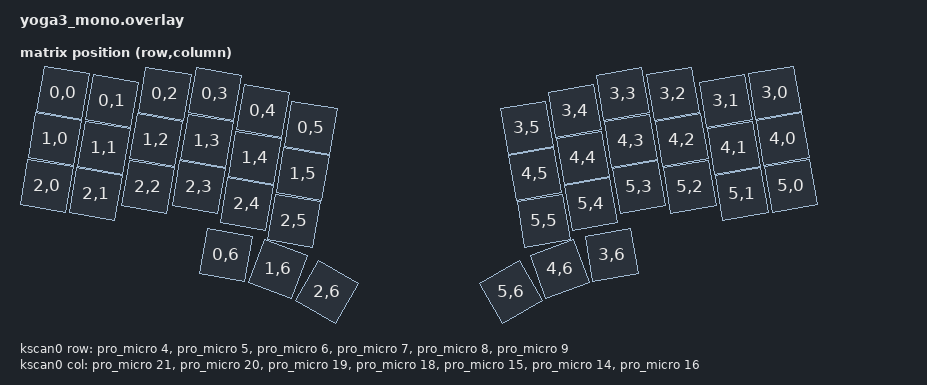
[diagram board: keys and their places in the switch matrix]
/*
 * SPDX-License-Identifier: MIT
 */

#include <dt-bindings/zmk/matrix_transform.h>
#include <physical_layouts.dtsi>

/ {
    chosen {
        zmk,kscan = &kscan0;
        zmk,physical-layout = &yoga3_mono_layout;
    };

    // 42 keys in a 6 x 7 matrix: left rows 0-2, right rows 3-5, thumbs in column 6
    default_transform: default_transform {
        compatible = "zmk,matrix-transform";
        columns = <7>;
        rows = <6>;
        map = <
            RC(0,0) RC(0,1) RC(0,2) RC(0,3) RC(0,4) RC(0,5) RC(3,5) RC(3,4) RC(3,3) RC(3,2) RC(3,1) RC(3,0)
            RC(1,0) RC(1,1) RC(1,2) RC(1,3) RC(1,4) RC(1,5) RC(4,5) RC(4,4) RC(4,3) RC(4,2) RC(4,1) RC(4,0)
            RC(2,0) RC(2,1) RC(2,2) RC(2,3) RC(2,4) RC(2,5) RC(5,5) RC(5,4) RC(5,3) RC(5,2) RC(5,1) RC(5,0)
            RC(0,6) RC(1,6) RC(2,6) RC(5,6) RC(4,6) RC(3,6)
        >;
    };

    yoga3_mono_layout: yoga3_mono_layout {
        compatible = "zmk,physical-layout";
        display-name = "Default";
        transform = <&default_transform>;
        keys  //                     w   h     x     y   rot    rx    ry
            = <&key_physical_attrs 100 100      33       0    1000      83      50>
            , <&key_physical_attrs 100 100     131      17    1000     181      67>
            , <&key_physical_attrs 100 100     236       2    1000     286      52>
            , <&key_physical_attrs 100 100     337       3    1000     387      53>
            , <&key_physical_attrs 100 100     433      37    1000     483      87>
            , <&key_physical_attrs 100 100     528      70    1000     578     120>
            , <&key_physical_attrs 100 100     961      70 (-1000)    1011     120>
            , <&key_physical_attrs 100 100    1056      37 (-1000)    1106      87>
            , <&key_physical_attrs 100 100    1152       3 (-1000)    1202      53>
            , <&key_physical_attrs 100 100    1253       2 (-1000)    1303      52>
            , <&key_physical_attrs 100 100    1358      17 (-1000)    1408      67>
            , <&key_physical_attrs 100 100    1456       0 (-1000)    1506      50>
            , <&key_physical_attrs 100 100      16      93    1000      66     143>
            , <&key_physical_attrs 100 100     115     110    1000     165     160>
            , <&key_physical_attrs 100 100     219      95    1000     269     145>
            , <&key_physical_attrs 100 100     321      96    1000     371     146>
            , <&key_physical_attrs 100 100     416     130    1000     466     180>
            , <&key_physical_attrs 100 100     512     163    1000     562     213>
            , <&key_physical_attrs 100 100     977     163 (-1000)    1027     213>
            , <&key_physical_attrs 100 100    1073     130 (-1000)    1123     180>
            , <&key_physical_attrs 100 100    1168      96 (-1000)    1218     146>
            , <&key_physical_attrs 100 100    1270      95 (-1000)    1320     145>
            , <&key_physical_attrs 100 100    1374     110 (-1000)    1424     160>
            , <&key_physical_attrs 100 100    1472      93 (-1000)    1522     143>
            , <&key_physical_attrs 100 100       0     186    1000      50     236>
            , <&key_physical_attrs 100 100      98     203    1000     148     253>
            , <&key_physical_attrs 100 100     203     188    1000     253     238>
            , <&key_physical_attrs 100 100     304     189    1000     354     239>
            , <&key_physical_attrs 100 100     400     223    1000     450     273>
            , <&key_physical_attrs 100 100     495     256    1000     545     306>
            , <&key_physical_attrs 100 100     994     256 (-1000)    1044     306>
            , <&key_physical_attrs 100 100    1089     223 (-1000)    1139     273>
            , <&key_physical_attrs 100 100    1185     189 (-1000)    1235     239>
            , <&key_physical_attrs 100 100    1286     188 (-1000)    1336     238>
            , <&key_physical_attrs 100 100    1390     203 (-1000)    1440     253>
            , <&key_physical_attrs 100 100    1489     186 (-1000)    1539     236>
            , <&key_physical_attrs 100 100     359     325    1000     409     375>
            , <&key_physical_attrs 100 100     463     353    2000     513     403>
            , <&key_physical_attrs 100 100     561     399    3000     611     449>
            , <&key_physical_attrs 100 100     928     399 (-3000)     978     449>
            , <&key_physical_attrs 100 100    1026     353 (-2000)    1076     403>
            , <&key_physical_attrs 100 100    1130     325 (-1000)    1180     375>
            ;
    };

    kscan0: kscan {
        compatible = "zmk,kscan-gpio-matrix";
        wakeup-source;
        diode-direction = "col2row";
        row-gpios
            = <&pro_micro 4 (GPIO_ACTIVE_HIGH | GPIO_PULL_DOWN)>
            , <&pro_micro 5 (GPIO_ACTIVE_HIGH | GPIO_PULL_DOWN)>
            , <&pro_micro 6 (GPIO_ACTIVE_HIGH | GPIO_PULL_DOWN)>
            , <&pro_micro 7 (GPIO_ACTIVE_HIGH | GPIO_PULL_DOWN)>
            , <&pro_micro 8 (GPIO_ACTIVE_HIGH | GPIO_PULL_DOWN)>
            , <&pro_micro 9 (GPIO_ACTIVE_HIGH | GPIO_PULL_DOWN)>
            ;
        col-gpios
            = <&pro_micro 21 GPIO_ACTIVE_HIGH>
            , <&pro_micro 20 GPIO_ACTIVE_HIGH>
            , <&pro_micro 19 GPIO_ACTIVE_HIGH>
            , <&pro_micro 18 GPIO_ACTIVE_HIGH>
            , <&pro_micro 15 GPIO_ACTIVE_HIGH>
            , <&pro_micro 14 GPIO_ACTIVE_HIGH>
            , <&pro_micro 16 GPIO_ACTIVE_HIGH>
            ;
    };
};
